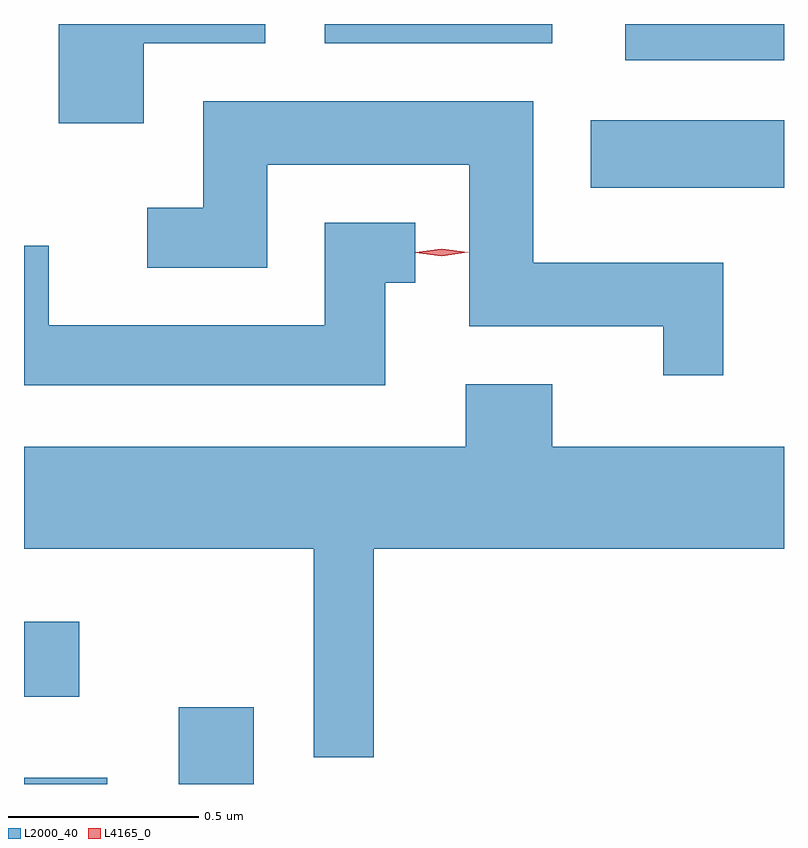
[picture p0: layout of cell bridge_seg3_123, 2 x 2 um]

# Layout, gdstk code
import gdstk
lib = gdstk.Library(unit=1e-6, precision=1e-09)
def R(c, l, rs):  # rectangles x0, y0, x1, y1
    for r in rs: c.add(gdstk.rectangle(r[:2], r[2:], *l))
def P(c, l, *ps):  # polygons
    for p in ps: c.add(gdstk.Polygon(p, *l))
L2000_40 = (2000, 40)
L4165_0 = (4165, 0)

bridge_seg3_123 = lib.new_cell('bridge_seg3_123')
R(bridge_seg3_123, L2000_40, [(1078.469,1216.417,1078.688,1216.434), (1078.876,1216.417,1079.074,1216.619), (1078.469,1216.646,1078.614,1216.844), (1079.961,1217.986,1080.469,1218.164), (1080.051,1218.321,1080.469,1218.417), (1079.261,1218.366,1079.859,1218.417)])
P(bridge_seg3_123, L2000_40, [(1078.784,1218.366),(1079.104,1218.366),(1079.104,1218.417),(1078.561,1218.417),(1078.561,1218.156),(1078.784,1218.156)],
  [(1080.309,1217.789),(1079.809,1217.789),(1079.809,1218.214),(1078.941,1218.214),(1078.941,1217.934),(1078.793,1217.934),(1078.793,1217.776),(1079.109,1217.776),(1079.109,1218.046),(1079.641,1218.046),(1079.641,1217.621),(1080.151,1217.621),(1080.151,1217.493),(1080.309,1217.493)],
  [(1079.419,1217.736),(1079.498,1217.736),(1079.498,1217.894),(1079.261,1217.894),(1079.261,1217.624),(1078.534,1217.624),(1078.534,1217.833),(1078.469,1217.833),(1078.469,1217.466),(1079.419,1217.466)],
  [(1079.389,1217.036),(1080.469,1217.036),(1080.469,1217.304),(1079.859,1217.304),(1079.859,1217.469),(1079.631,1217.469),(1079.631,1217.304),(1078.469,1217.304),(1078.469,1217.036),(1079.231,1217.036),(1079.231,1216.488),(1079.389,1216.488)])
P(bridge_seg3_123, L4165_0, [(1079.568,1217.806),(1079.499,1217.815),(1079.499,1217.816),(1079.499,1217.816),(1079.568,1217.826),(1079.638,1217.817),(1079.638,1217.816),(1079.638,1217.816)])

lib.write_gds('bridge_seg3_123.gds')
